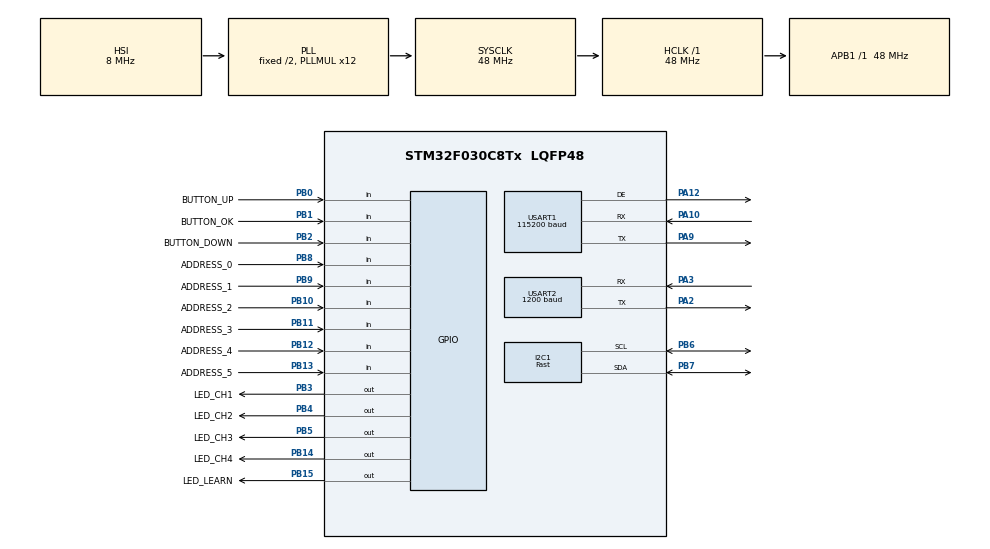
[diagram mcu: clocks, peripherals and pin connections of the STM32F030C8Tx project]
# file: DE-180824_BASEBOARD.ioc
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I2C1.I2C_Speed_Mode=I2C_Fast
I2C1.Timing=0x0010020A
Mcu.Family=STM32F0
Mcu.Name=STM32F030C8Tx
Mcu.Package=LQFP48
NVIC.USART1_IRQn=true\:0\:0\:true\:false\:true\:true\:true\:true
NVIC.USART2_IRQn=true\:0\:0\:false\:false\:true\:true\:true\:true
PA10.Mode=Asynchronous
PA10.Signal=USART1_RX
PA12.Mode=Hardware Flow Control (RS485)
PA12.Signal=USART1_DE
PA13.Mode=Serial_Wire
PA13.Signal=SYS_SWDIO
PA14.Mode=Serial_Wire
PA14.Signal=SYS_SWCLK
PA2.Mode=Asynchronous
PA2.Signal=USART2_TX
PA3.Mode=Asynchronous
PA3.Signal=USART2_RX
PA9.Mode=Asynchronous
PA9.Signal=USART1_TX
PB0.GPIO_Label=BUTTON_UP
PB0.GPIO_PuPd=GPIO_PULLUP
PB0.Signal=GPIO_Input
PB1.GPIO_Label=BUTTON_OK
PB1.GPIO_PuPd=GPIO_PULLUP
PB1.Signal=GPIO_Input
PB10.GPIO_Label=ADDRESS_2
PB10.GPIO_PuPd=GPIO_PULLUP
PB10.Signal=GPIO_Input
PB11.GPIO_Label=ADDRESS_3
PB11.GPIO_PuPd=GPIO_PULLUP
PB11.Signal=GPIO_Input
PB12.GPIO_Label=ADDRESS_4
PB12.GPIO_PuPd=GPIO_PULLUP
PB12.Signal=GPIO_Input
PB13.GPIO_Label=ADDRESS_5
PB13.GPIO_PuPd=GPIO_PULLUP
PB13.Signal=GPIO_Input
PB14.GPIO_Label=LED_CH4
PB14.Signal=GPIO_Output
PB15.GPIO_Label=LED_LEARN
PB15.Signal=GPIO_Output
PB2.GPIO_Label=BUTTON_DOWN
PB2.GPIO_PuPd=GPIO_PULLUP
PB2.Signal=GPIO_Input
PB3.GPIO_Label=LED_CH1
PB3.Signal=GPIO_Output
PB4.GPIO_Label=LED_CH2
PB4.Signal=GPIO_Output
PB5.GPIO_Label=LED_CH3
PB5.Signal=GPIO_Output
PB6.Mode=I2C
PB6.Signal=I2C1_SCL
PB7.Mode=I2C
PB7.Signal=I2C1_SDA
PB8.GPIO_Label=ADDRESS_0
PB8.GPIO_PuPd=GPIO_PULLUP
PB8.Signal=GPIO_Input
PB9.GPIO_Label=ADDRESS_1
PB9.GPIO_PuPd=GPIO_PULLUP
PB9.Signal=GPIO_Input
ProjectManager.HeapSize=0x200
ProjectManager.StackSize=0x400
ProjectManager.TargetToolchain=MDK-ARM V5.32
RCC.AHBFreq_Value=48000000
RCC.APB1Freq_Value=48000000
RCC.APB1TimFreq_Value=48000000
RCC.HCLKFreq_Value=48000000
RCC.PLLMUL=RCC_PLL_MUL12
RCC.SYSCLKFreq_VALUE=48000000
RCC.SYSCLKSource=RCC_SYSCLKSOURCE_PLLCLK
USART1.BaudRate=115200
USART1.VirtualMode-Asynchronous=VM_ASYNC
USART1.VirtualMode-Hardware\ Flow\ Control\ (RS485)=VM_ASYNC
USART2.BaudRate=1200
USART2.VirtualMode-Asynchronous=VM_ASYNC
VP_CRC_VS_CRC.Mode=CRC_Activate
VP_IWDG_VS_IWDG.Mode=IWDG_Activate
board=custom

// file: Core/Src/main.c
/* USER CODE BEGIN Header */
/**
  ******************************************************************************
  * @file           : main.c
  * @brief          : Main program body
  ******************************************************************************
  * @attention
  *
  * Copyright (c) 2025 STMicroelectronics.
  * All rights reserved.
  *
  * This software is licensed under terms that can be found in the LICENSE file
  * in the root directory of this software component.
  * If no LICENSE file comes with this software, it is provided AS-IS.
  *
  ******************************************************************************
  */
/* USER CODE END Header */
#include "main.h"

/* USER CODE BEGIN PTD */
enum {
    _SET_DIMMER_VALUE       = 0x01,
    _SET_DIMMER_RAMP        = 0x02,
    _SET_DIMMER_TEMPERATURE = 0x03,
    _DIMMER_RESET           = 0x04,  // softverski reset jednog kanala dimera 0x55 specijalna adresa za sve kanale na busu
    _GET_DIMMER_STATE       = 0x05,
    _DIMMER_RESTART         = 0x06   // softverski restart modula dimera i svih kanala na njemu
};

typedef enum {
    INIT = 0,
    RUN,
    ERR

} eSysState;

typedef struct {
    uint16_t value;
    uint16_t scale_hi;
    uint16_t scale_lo;
    uint8_t ramp;
    uint8_t temp;
    uint8_t temp_limit;
    uint8_t state;
    bool update;
    bool reset;
} sDimmerChanel;
/* USER CODE END PTD */

/* USER CODE BEGIN PD */
#define DIMRXBUF_SIZE 16
#define NUMBER_OF_CHANEL 4
#define MENU_TIMEOUT 10000 // 10 sekundi timeout
#define SHORT_PRESS_MIN 10  // 10 ms najmanje vrijeme kratkog pritisnutog tastera "klika"
#define SHORT_PRESS_MAX 200 // 200 ms najduže vrijeme jednog klika tastera
#define LONG_PRESS_MIN 1000 // 1 sekunda vrijeme nakon kojeg krece dim funkcija tastera
#define RESET_PRESS_MIN 5000 // 5 sekunda
#define LONG_PRESS_INTERVAL 0 // Brzina promjene kod dugog pritiska
#define INCREMENT_STEP 5   // Korak inkrementacije za dugi pritisak
#define TOGGLE_INTERVAL 500 // Period treptanja LED
#define ERROR_TOGGLE_INTERVAL 50 // Period treptanja LED kod greï¿½ke
#define BUTTON_PAUSE    200 // dodatni debouncing
/* USER CODE END PD */

CRC_HandleTypeDef hcrc;

I2C_HandleTypeDef hi2c1;

IWDG_HandleTypeDef hiwdg;

UART_HandleTypeDef huart1;
UART_HandleTypeDef huart2;

/* USER CODE BEGIN PV */
uint8_t dimrxbuf[DIMRXBUF_SIZE] = {0}, dimrxcnt = 0, dimrxbyte;
uint8_t rec, my_address;
TinyFrame tfapp;
bool init_tf = false;
static uint8_t ee_sta = 0;
bool restart = false;
eSysState sys_state = INIT;

static uint32_t delay_t = 20000000;
GPIO_TypeDef *LED_PORT[4] = {GPIOB, GPIOB, GPIOB, GPIOB};
uint16_t LED_PIN[4] = {GPIO_PIN_3, GPIO_PIN_4, GPIO_PIN_5, GPIO_PIN_14};
sDimmerChanel dimm_ch[4] = {0};
volatile uint8_t selected_channel = 3;
volatile uint8_t menu_activ = 0;
volatile uint32_t menu_timer = 0;
volatile uint8_t toggle_state = 0;
volatile uint8_t error_state = 0;
volatile uint32_t last_press_time = 0;
volatile uint32_t last_toggle_time = 0;
volatile uint32_t last_check_time = 0;
volatile uint32_t last_err_toggle_time = 0;
volatile uint32_t last_increment_time = 0;
uint8_t button_ok_prev = 0, button_up_prev = 0, button_down_prev = 0;
/* USER CODE END PV */

void SystemClock_Config(void);
static void MX_GPIO_Init(void);
static void MX_CRC_Init(void);
static void MX_I2C1_Init(void);
static void MX_IWDG_Init(void);
static void MX_USART1_UART_Init(void);
static void MX_USART2_UART_Init(void);
/* USER CODE BEGIN PFP */
TF_Result TYPE_Listener(TinyFrame *tf, TF_Msg *msg);
void save_value(uint8_t ch, uint16_t value);
uint8_t send(uint8_t *buf, uint8_t len);
uint8_t set_value(uint8_t ch);
uint8_t set_ramp(uint8_t ch);
uint8_t reset_ch(uint8_t ch);
uint8_t set_temp(uint8_t ch);
uint8_t get_state(uint8_t ch);
void refresh(void);
void handle_buttons(void) ;
void menu_logic(void);
void RS485_Init(void);
uint8_t received;
/* USER CODE END PFP */

/* USER CODE BEGIN 0 */
/**
  * @brief  staticka inline funkcija pauze 1~2ms za kašnjenje odgovora za stabilne repeatere
  *         u interruptu se ne može koristiti HAL_GetTick ni HAL_Delay tako da ova funkcija
  *         obezbjeduje kašnjenje oko 1 ms bez hal drivera gubljenjem vremena izvršavanjem
  *         ciklusa koji ne rade ništa
  * @param
  * @retval
  */
static inline void delay_us(uint32_t us) {
    volatile uint32_t cycles = (HAL_RCC_GetHCLKFreq() / 20000000) * us;  // Smanjen faktor
    while (cycles--) {
        __asm volatile("NOP");  // Izbegava optimizaciju
    }
}
/**
  * @brief  sacuvaj u eeprom skaliranje jednog dimera i njegovu rampu promjene
  * @param
  * @retval 0 = spašeno / 1 = neuspjeh eeprom ne radi
  */
static uint8_t save_ch(uint8_t ch)
{
    uint8_t data[6] = {0};
    uint8_t addr = ch * 8;
    data[0] = dimm_ch[ch].ramp;
    data[1] = dimm_ch[ch].scale_hi >> 8;
    data[2] = dimm_ch[ch].scale_hi & 0xff;
    data[3] = dimm_ch[ch].scale_lo >> 8;
    data[4] = dimm_ch[ch].scale_lo & 0xff;
    data[5] = dimm_ch[ch].temp_limit;
    if (HAL_I2C_Mem_Write(&hi2c1, 0xA0, addr, I2C_MEMADD_SIZE_8BIT, data, 6, 1000) != HAL_OK) ee_sta = 1; // upiši i ako nevalja upis oznaci ee_sta
    else ee_sta = 0;
    HAL_Delay(5);
    return ee_sta;
}
/**
  * @brief  kopiraj iz eeproma rampu jednog dimera i njegovo skaliranje izlaza
  * @param
  * @retval 0 = ucitano / 1 = neuspjeh eeprom ne radi
  */
static uint8_t load_ch(uint8_t ch)
{
    uint8_t data[6] = {0};
    uint8_t addr = ch * 8;

    if (HAL_I2C_Mem_Read(&hi2c1, 0xA0, addr, I2C_MEMADD_SIZE_8BIT, data, 6, 1000) != HAL_OK)
    {
        ++ee_sta;   // ako nevalja eeprom oznaci ee_sta i postavi defaultne vrijednosti
        dimm_ch[ch].ramp = 5; // 5 ms rampa
        dimm_ch[ch].scale_hi = 1000; // 1000 za najveci moguci raspon
        dimm_ch[ch].scale_lo = 0;   // 0 za najveci moguci raspon
        dimm_ch[ch].temp_limit = 90; // izbacuj grešku na 90°C mosfeta
    }
    else // samo ucitaj podatke ako valja eeprom
    {
        dimm_ch[ch].ramp = data[0];
        dimm_ch[ch].scale_hi = (uint16_t) (data[1] << 8) | data[2];
        dimm_ch[ch].scale_lo = (uint16_t) (data[3] << 8) | data[4];
        dimm_ch[ch].temp_limit = data[5];
        dimm_ch[ch].update = true; // šalji i na dimer izlaz
        ee_sta = 0;
    }

    return ee_sta;
}
/**
  * @brief  Mapiranje vrednosti izmedu 1 i 99 u raspon 0~1000, ulazni 0 i 100 se odmah vracaju kao 0 i 1000
  * @param  uint8_t dimmer_value je ulazna vrijednost 0~100,
            uint16_t lower_limit je minimalna izlazna vrijednost za ulaznu 1
            uint16_t upper_limit je maksimalna izlazna vrijednost za ulaznu 99
  * @retval 0~1000
  */
uint16_t map_dimmer_value(uint8_t dimmer_value, uint16_t lower_limit, uint16_t upper_limit)
{
    //dimmer_value = 0 ? izlaz = 0
    //dimmer_value = 100 ? izlaz = 1000
    //dimmer_value = 1 ? izlaz = lower_limit (npr. 200)
    //dimmer_value = 99 ? izlaz ï¿½ upper_limit (npr. 700)
    //Sve ostali vrednosti (2-98) se proporcionalno mapiraju izmedu lower_limit i upper_limit.
    if (dimmer_value == 0) return 0;  // Ako je podešavanje 0, izlaz je 0
    if (dimmer_value == 100) return 1000; // Ako je podešavanje 100, izlaz je 1000
    // Mapiranje vrednosti izmedu 1 i 99 u raspon lower_limit - upper_limit
    return (uint16_t)((((uint32_t)(dimmer_value - 1) * (upper_limit - lower_limit)) / 98) + lower_limit);
}
/**
  * @brief  Genericka funkcija za mapiranje ulazne vrednosti iz vece u manju sa limiterima za ulazne i izlazne vrijednosti
            ovdje se koristi da se vrijednost dimera koja je u rasponu 0~1000 skalira na vrijednost podešavanja 0~100%
  * @param  uint16_t in_value je ulazna vrijednost
  * @retval uint8_t
  */
uint8_t map_hi2lo (uint16_t in_value, uint16_t in_min, uint16_t in_max, uint8_t out_min, uint8_t out_max)
{
    if (in_value <= in_min) return out_min;
    if (in_value >= in_max) return out_max;
    return (uint8_t)((((uint32_t)(in_value - in_min) * (out_max - out_min)) / (in_max - in_min)) + out_min);
}
/**
  * @brief  Genericka funkcija za mapiranje ulazne vrednosti iz manjih u vece sa limiterima za ulazne i izlazne vrijednosti
  * @param  uint8_t in_value je ulazna vrijednost
  * @retval uint16_t
  */
uint16_t map_lo2hi(uint8_t in_value, uint8_t in_min, uint8_t in_max, uint16_t out_min, uint16_t out_max)
{
    if (in_value <= in_min) return out_min;
    if (in_value >= in_max) return out_max;
    return (uint16_t)((((uint32_t)(in_value - in_min) * (out_max - out_min)) / (in_max - in_min)) + out_min);
}
/**
  * @brief  resetuj jedan dimera tako da se izlaz postavlja na 0 a rampa i temp.limit reinicijalizujui briše status greške
  * @param  rampa dimera i temperaturni limit kanala dimera
  * @retval 0 = odgovor potvrdan / 1 = nije potvrdan
  */
uint8_t reset_ch(uint8_t ch)
{
    uint8_t res = 1; // odgovor
    uint8_t buf[4];

    buf[0] = ch + 1;
    buf[1] = _DIMMER_RESET;
    buf[2] = dimm_ch[ch].ramp;
    buf[3] = dimm_ch[ch].temp_limit;
    res = send(buf, 4);
    return res;
}
/**
  * @brief  restartuj jedan dimera bez inicijalizacije t.j. svi parametri su 0
  * @param  rampa dimera i temperaturni limit kanala dimera
  * @retval 0 = odgovor potvrdan / 1 = nije potvrdan
  */
uint8_t restart_ch(uint8_t ch)
{
    uint8_t res = 1; // odgovor
    uint8_t buf[4];

    buf[0] = ch + 1;
    buf[1] = _DIMMER_RESTART;
    res = send(buf, 2);
    return res;
}
/**
  * @brief  podesi izlaz jednog dimera
  * @param  ch = kanal dimera
  * @retval 0 = odgovor potvrdan / 1 = nije potvrdan
  */
uint8_t set_value(uint8_t ch)
{
    uint8_t res = 1; // odgovor
    uint8_t buf[4];

    buf[0] = ch + 1; // dimer moduli su adresirani od 1 pa dodaj offset
    buf[1] = _SET_DIMMER_VALUE;
    buf[2] = dimm_ch[ch].value >> 8;
    buf[3] = dimm_ch[ch].value & 0xff;
    res = send(buf, 4); // šalji sa odgovorom i
    return res; //  informiši pozivaoca o izvršenju
}
/**
  * @brief  podesi temperaturni limit jednog dimera
  * @param  ch = kanal dimera, temp_limit
  * @retval 0 = odgovor potvrdan / 1 = nije potvrdan
  */
uint8_t set_temp(uint8_t ch)
{
    uint8_t res = 1; // odgovor
    uint8_t buf[3];

    buf[0] = ch + 1;
    buf[1] = _SET_DIMMER_TEMPERATURE;
    buf[2] = dimm_ch[ch].temp_limit;

    res = send(buf, 3);
    return res;
}
/**
  * @brief  podesi rampu promjene izlaza jednog  dimera
  * @param  ch = kanal dimera, ramp
  * @retval 0 = odgovor potvrdan / 1 = nije potvrdan
  */
uint8_t set_ramp(uint8_t ch)
{
    uint8_t res = 1; // odgovor
    uint8_t buf[3];

    buf[0] = ch + 1;
    buf[1] = _SET_DIMMER_RAMP;
    buf[2] = dimm_ch[ch].ramp;
    res = send(buf, 3);
    return res;
}
/**
  * @brief  trazi stanje jednog dimera
  * @param  ucitani su u strukturu iz dimera value, ramp, temp, temp_limit, state
  * @retval 0 = odgovor potvrdan / 1 = nije potvrdan
  */
uint8_t get_state(uint8_t ch)
{
    uint8_t buf[3];
    uint8_t ret = 5; // broj pokušaja
    uint8_t res = 1; // odgovor negativan
    uint8_t wait = 10; // vrijeme odgovora * 2ms

    buf[0] = ch + 1;
    buf[1] = _GET_DIMMER_STATE;

    do {
        dimrxcnt = 0;
        memset(dimrxbuf, 0, DIMRXBUF_SIZE);
        HAL_UART_Transmit(&huart2, buf, 2, 100);

        while(wait)
        {
            HAL_Delay(2);
            if((dimrxcnt == 8) && (dimrxbuf[0] == (ch + 1)) && (dimrxbuf[1] == _GET_DIMMER_STATE))
            {
                // uzmi samo read only varijable iz modula
                // pokazalo se kao bolja opcija
                ret = res = wait = 0;
//                dimm_ch[ch].value        = ((uint16_t)dimrxbuf[2] << 8) | dimrxbuf[3];
//                dimm_ch[ch].ramp         = dimrxbuf[4];
                dimm_ch[ch].temp         = dimrxbuf[5];
//                dimm_ch[ch].temp_limit   = dimrxbuf[6];
                dimm_ch[ch].state        = dimrxbuf[7];
            } else --wait;
        }
    } while(ret--);
    return res;
}
/**
  * @brief  podesi adresu modula dimera na busu prema poziciji DIP switcha
  * @param
  * @retval
  */
void get_address(void)
{
    my_address = 0;
    if(HAL_GPIO_ReadPin(ADDRESS_0_GPIO_Port, ADDRESS_0_Pin) == GPIO_PIN_RESET) my_address |= 0x01;
    if(HAL_GPIO_ReadPin(ADDRESS_1_GPIO_Port, ADDRESS_1_Pin) == GPIO_PIN_RESET) my_address |= 0x02;
    if(HAL_GPIO_ReadPin(ADDRESS_2_GPIO_Port, ADDRESS_2_Pin) == GPIO_PIN_RESET) my_address |= 0x04;
    if(HAL_GPIO_ReadPin(ADDRESS_3_GPIO_Port, ADDRESS_3_Pin) == GPIO_PIN_RESET) my_address |= 0x08;
    if(HAL_GPIO_ReadPin(ADDRESS_4_GPIO_Port, ADDRESS_4_Pin) == GPIO_PIN_RESET) my_address |= 0x10;
    if(HAL_GPIO_ReadPin(ADDRESS_5_GPIO_Port, ADDRESS_5_Pin) == GPIO_PIN_RESET) my_address |= 0x20;
}
/**
  * @brief  restartuj sve dimere i ponovo reinicijalizuj iz eeprom-a
            rampe, skaliranje i tem. limit  bez odgovora
  * @param
  * @retval
  */
void restart_all(void)
{
    uint8_t buf[2];
    buf[0] = 0x55;
    buf[1] = _DIMMER_RESTART;
    send(buf, 2);
    load_ch(0);
    load_ch(1);
    load_ch(2);
    load_ch(3);
}
/**
  * @brief  povremena provjera stanja dimera i podešavanje novih vrijednosti
  * @param
  * @retval
  */
void refresh_ch(void)
{
    uint8_t response = 0;
    static uint8_t chanel = 0;

    if ((HAL_GetTick() - last_check_time) >= 50) {
        last_check_time = HAL_GetTick();  // Azuriraj vreme poslednje promene
        if(dimm_ch[chanel].update == true)
        {
            response  = set_value(chanel);
            response += set_temp(chanel);
            response += set_ramp(chanel);
            if(response == 0) dimm_ch[chanel].update = false;
            else dimm_ch[chanel].state = ERR;
            save_ch(chanel);
        }
        if(get_state(chanel) != 0) dimm_ch[chanel].state = ERR;
        if(++chanel >= NUMBER_OF_CHANEL) chanel = 0;
    }
}
/**
  * @brief  pošalji paket dimeru i cekaj odgovor sa više pokušaja
  * @param
  * @retval 0 = uspješno / 1 = nije uspješno
  */
uint8_t send(uint8_t *buf, uint8_t len)
{
    uint8_t ret = 5; // broj pokušaja
    uint8_t res = 1; // odgovor negativan
    uint8_t wait = 10; // vrijeme odgovora * 2ms

    do {
        dimrxcnt = 0;
        memset(dimrxbuf, 0, DIMRXBUF_SIZE);
        HAL_UART_Transmit(&huart2, buf, len, 100);

        while(wait)
        {
            HAL_Delay(2);
            if(dimrxbuf[0] == ACK)
            {
                ret = res = wait = 0;
            } else --wait;
        }
    } while(ret--);
    return res;
}
/**
  * @brief  podesi stanje led dioda na panelu prema vrijednosti izlaza
  * @param
  * @retval
  */
void refresh_led(void)
{
    for (uint8_t i = 0; i < 4; i++) {
        if(menu_activ || dimm_ch[i].state < ERR)
        {
            HAL_GPIO_WritePin(LED_PORT[i], LED_PIN[i], (dimm_ch[i].value > 0) ? GPIO_PIN_SET : GPIO_PIN_RESET);
        }
    }
}
/**
  * @brief  reaguj na pritisak tastera na prednjem panelu modula
  * @param
  * @retval
  */
void handle_buttons(void)
{
    uint32_t current_time = HAL_GetTick();
    uint8_t button_ok = HAL_GPIO_ReadPin(GPIOB, GPIO_PIN_1);
    uint8_t button_up = HAL_GPIO_ReadPin(GPIOB, GPIO_PIN_0);
    uint8_t button_down = HAL_GPIO_ReadPin(GPIOB, GPIO_PIN_2);

    if (button_ok == GPIO_PIN_RESET) {
        if (!button_ok_prev) {
            button_ok_prev = 1; // lock press time load
            menu_activ = 1;
            toggle_state = 1;
            if(++selected_channel > 3) selected_channel = 0;
            menu_timer = current_time + MENU_TIMEOUT;
            last_press_time = current_time; // load first press time
            refresh_led();
            get_address();
            HAL_Delay(BUTTON_PAUSE);
        }
        else if (error_state && (current_time - last_press_time > RESET_PRESS_MIN)) {
            error_state = 0;
            restart_all(); // restartuj sve izlaze i ponovo ucitaj varijable iz eeproma
            HAL_Delay(200);
            for (uint8_t i = 0; i < 4; i++) {
                reset_ch(i);
                get_state(i);
                if(dimm_ch[i].state >= ERR) error_state = 1;
            }
        }

    }
    else if ((button_ok == GPIO_PIN_SET) && button_ok_prev)
    {
        button_ok_prev = 0;
        HAL_Delay(BUTTON_PAUSE);
        refresh_led();
    }

    if (menu_activ && (button_up == GPIO_PIN_RESET)) {
        if (!button_up_prev) {
            button_up_prev = 1; // lock press time load
            last_press_time = current_time; // load first press time
            HAL_Delay(BUTTON_PAUSE);
        }
        else if (current_time - last_press_time > LONG_PRESS_MIN && current_time - last_increment_time > LONG_PRESS_INTERVAL) {
            if (dimm_ch[selected_channel].value < 1000) {
                ++dimm_ch[selected_channel].value;
                set_value(selected_channel);
            }
            last_increment_time = current_time;
        }
        menu_timer = current_time + MENU_TIMEOUT;
    }
    else if ((button_up == GPIO_PIN_SET) && button_up_prev)
    {
        button_up_prev = 0; // release button press
        if((current_time - last_press_time) < LONG_PRESS_MIN)// check  for short press time window
        {
            dimm_ch[selected_channel].value = 1000;
            set_value(selected_channel);
        }
        HAL_Delay(BUTTON_PAUSE);
    }

    if (menu_activ && (button_down == GPIO_PIN_RESET)) {
        if (!button_down_prev) {
            button_down_prev = 1; // lock press time load
            last_press_time = current_time; // load first press time
            HAL_Delay(BUTTON_PAUSE);
        } else if (current_time - last_press_time > LONG_PRESS_MIN && current_time - last_increment_time > LONG_PRESS_INTERVAL) {
            if (dimm_ch[selected_channel].value > 0) {
                --dimm_ch[selected_channel].value;
                set_value(selected_channel);
            }
            last_increment_time = current_time;
        }
        menu_timer = current_time + MENU_TIMEOUT;
    }
    else if ((button_down == GPIO_PIN_SET) && button_down_prev)
    {
        button_down_prev = 0; // release button press
        if((current_time - last_press_time) < LONG_PRESS_MIN)// check  for short press time windows
        {
            dimm_ch[selected_channel].value = 0;
            set_value(selected_channel);
        }
        HAL_Delay(BUTTON_PAUSE);
    }
}
/**
  * @brief  logika korisnickog menija sa led diodama i tasterima na prednjem panelu modula
  * @param
  * @retval
  */
void menu_logic(void)
{
    static bool error_led_state = true;  // true = LED ukljucene, false = LED iskljucene
    uint32_t current_time = HAL_GetTick();
    if (current_time > menu_timer) {
        selected_channel = 3;
        menu_activ = 0;
        toggle_state = 0;
        refresh_led();
    }
    if (toggle_state && (current_time - last_toggle_time >= TOGGLE_INTERVAL)) {
        HAL_GPIO_TogglePin(LED_PORT[selected_channel], LED_PIN[selected_channel]);
        last_toggle_time = current_time;
    }
    if (!menu_activ && error_state && (current_time - last_err_toggle_time >= ERROR_TOGGLE_INTERVAL)) {
        // Ako je uredaj u error stanju, postavi sve LED u istom stanju
        for (uint8_t i = 0; i < 4; i++) {
            if (dimm_ch[i].state >= ERR) {
                // Ako je error_led_state true, ukljucuju se LED, inace iskljucuju
                HAL_GPIO_WritePin(LED_PORT[i], LED_PIN[i], error_led_state ? GPIO_PIN_SET : GPIO_PIN_RESET);
            }
        }
        last_err_toggle_time = current_time;
        error_led_state = !error_led_state;  // Prebacivanje stanja (ako se neko stanje promeni)
    }
}
/**
  * @brief  mali efekt sa LED diodama prednjeg panela kod ukljucenja
  * @param
  * @retval
  */
void start_effect(void)
{
    // 1. Punjenje iz sredine (LED_CH2 i LED_CH3 prvo)
    HAL_GPIO_WritePin(LED_CH2_GPIO_Port, LED_CH2_Pin, GPIO_PIN_SET);
    HAL_GPIO_WritePin(LED_CH3_GPIO_Port, LED_CH3_Pin, GPIO_PIN_SET);
    HAL_Delay(100);
    HAL_GPIO_WritePin(LED_CH1_GPIO_Port, LED_CH1_Pin, GPIO_PIN_SET);
    HAL_GPIO_WritePin(LED_CH4_GPIO_Port, LED_CH4_Pin, GPIO_PIN_SET);
    HAL_Delay(200);

    // Gašenje svih LED
    HAL_GPIO_WritePin(LED_CH1_GPIO_Port, LED_CH1_Pin, GPIO_PIN_RESET);
    HAL_GPIO_WritePin(LED_CH2_GPIO_Port, LED_CH2_Pin, GPIO_PIN_RESET);
    HAL_GPIO_WritePin(LED_CH3_GPIO_Port, LED_CH3_Pin, GPIO_PIN_RESET);
    HAL_GPIO_WritePin(LED_CH4_GPIO_Port, LED_CH4_Pin, GPIO_PIN_RESET);
    HAL_Delay(100);

#ifdef USE_WATCHDOG
    HAL_IWDG_Refresh(&hiwdg);
#endif

    // 2. Brzi svjetlosni odjek (napred i nazad)
    GPIO_TypeDef *ports[] = {LED_CH1_GPIO_Port, LED_CH2_GPIO_Port, LED_CH3_GPIO_Port, LED_CH4_GPIO_Port};
    const uint16_t pins[] = {LED_CH1_Pin, LED_CH2_Pin, LED_CH3_Pin, LED_CH4_Pin};
    for(int i = 0; i < 4; i++)
    {
        // Naprijed (CH1 -> CH2 -> CH3 -> CH4)
        for (int i = 0; i < 4; i++)
        {
            HAL_GPIO_WritePin(ports[i], pins[i], GPIO_PIN_SET);
            HAL_Delay(50);
            HAL_GPIO_WritePin(ports[i], pins[i], GPIO_PIN_RESET);
        }

        // Nazad (CH4 -> CH3 -> CH2 -> CH1)
        for (int i = 3; i >= 0; i--)
        {
            HAL_GPIO_WritePin(ports[i], pins[i], GPIO_PIN_SET);
            HAL_Delay(50);
            HAL_GPIO_WritePin(ports[i], pins[i], GPIO_PIN_RESET);
        }
    }

#ifdef USE_WATCHDOG
    HAL_IWDG_Refresh(&hiwdg);
#endif

    // 3. Završni treptaji (3 puta)
    for (int i = 0; i < 3; i++)
    {
        HAL_GPIO_WritePin(LED_CH1_GPIO_Port, LED_CH1_Pin, GPIO_PIN_SET);
        HAL_GPIO_WritePin(LED_CH2_GPIO_Port, LED_CH2_Pin, GPIO_PIN_SET);
        HAL_GPIO_WritePin(LED_CH3_GPIO_Port, LED_CH3_Pin, GPIO_PIN_SET);
        HAL_GPIO_WritePin(LED_CH4_GPIO_Port, LED_CH4_Pin, GPIO_PIN_SET);
        HAL_Delay(100);

        HAL_GPIO_WritePin(LED_CH1_GPIO_Port, LED_CH1_Pin, GPIO_PIN_RESET);
        HAL_GPIO_WritePin(LED_CH2_GPIO_Port, LED_CH2_Pin, GPIO_PIN_RESET);
        HAL_GPIO_WritePin(LED_CH3_GPIO_Port, LED_CH3_Pin, GPIO_PIN_RESET);
        HAL_GPIO_WritePin(LED_CH4_GPIO_Port, LED_CH4_Pin, GPIO_PIN_RESET);
        HAL_Delay(100);
    }
}

/* USER CODE END 0 */

int main(void)
{

    /* MCU Configuration--------------------------------------------------------*/

    /* Reset of all peripherals, Initializes the Flash interface and the Systick. */
    HAL_Init();

    /* Configure the system clock */
    SystemClock_Config();

    /* Initialize all configured peripherals */
    MX_GPIO_Init();
    MX_CRC_Init();
    MX_I2C1_Init();
    MX_IWDG_Init();
    MX_USART1_UART_Init();
    MX_USART2_UART_Init();
    /* USER CODE BEGIN 2 */
    RS485_Init();
    start_effect();
    /* USER CODE END 2 */

    /* Infinite loop */
    /* USER CODE BEGIN WHILE */
    while (1)
    {
        if(restart == true) restart_all(), Error_Handler(); // neko je iskao restart
        handle_buttons();
        menu_logic();

        switch(sys_state)
        {
        case INIT:
            get_address();
            restart_all();
            error_state = 1;
            sys_state = RUN;
            break;
        case RUN:
            refresh_ch();
            break;
        case ERR:
        default:
            break;
        }
        /* USER CODE END WHILE */

        /* USER CODE BEGIN 3 */
#ifdef USE_WATCHDOG
        HAL_IWDG_Refresh(&hiwdg);
#endif
    }
    /* USER CODE END 3 */
}

void SystemClock_Config(void)
{
    RCC_OscInitTypeDef RCC_OscInitStruct = {0};
    RCC_ClkInitTypeDef RCC_ClkInitStruct = {0};
    RCC_PeriphCLKInitTypeDef PeriphClkInit = {0};

    /** Initializes the RCC Oscillators according to the specified parameters
    * in the RCC_OscInitTypeDef structure.
    */
    RCC_OscInitStruct.OscillatorType = RCC_OSCILLATORTYPE_HSI|RCC_OSCILLATORTYPE_LSI;
    RCC_OscInitStruct.HSIState = RCC_HSI_ON;
    RCC_OscInitStruct.HSICalibrationValue = RCC_HSICALIBRATION_DEFAULT;
    RCC_OscInitStruct.LSIState = RCC_LSI_ON;
    RCC_OscInitStruct.PLL.PLLState = RCC_PLL_ON;
    RCC_OscInitStruct.PLL.PLLSource = RCC_PLLSOURCE_HSI;
    RCC_OscInitStruct.PLL.PLLMUL = RCC_PLL_MUL12;
    RCC_OscInitStruct.PLL.PREDIV = RCC_PREDIV_DIV1;
    if (HAL_RCC_OscConfig(&RCC_OscInitStruct) != HAL_OK)
    {
        Error_Handler();
    }

    /** Initializes the CPU, AHB and APB buses clocks
    */
    RCC_ClkInitStruct.ClockType = RCC_CLOCKTYPE_HCLK|RCC_CLOCKTYPE_SYSCLK
                                  |RCC_CLOCKTYPE_PCLK1;
    RCC_ClkInitStruct.SYSCLKSource = RCC_SYSCLKSOURCE_PLLCLK;
    RCC_ClkInitStruct.AHBCLKDivider = RCC_SYSCLK_DIV1;
    RCC_ClkInitStruct.APB1CLKDivider = RCC_HCLK_DIV1;

    if (HAL_RCC_ClockConfig(&RCC_ClkInitStruct, FLASH_LATENCY_1) != HAL_OK)
    {
        Error_Handler();
    }
    PeriphClkInit.PeriphClockSelection = RCC_PERIPHCLK_USART1|RCC_PERIPHCLK_I2C1;
    PeriphClkInit.Usart1ClockSelection = RCC_USART1CLKSOURCE_PCLK1;
    PeriphClkInit.I2c1ClockSelection = RCC_I2C1CLKSOURCE_HSI;
    if (HAL_RCCEx_PeriphCLKConfig(&PeriphClkInit) != HAL_OK)
    {
        Error_Handler();
    }
}

static void MX_CRC_Init(void)
{

    hcrc.Instance = CRC;
    hcrc.Init.DefaultInitValueUse = DEFAULT_INIT_VALUE_ENABLE;
    hcrc.Init.InputDataInversionMode = CRC_INPUTDATA_INVERSION_NONE;
    hcrc.Init.OutputDataInversionMode = CRC_OUTPUTDATA_INVERSION_DISABLE;
    hcrc.InputDataFormat = CRC_INPUTDATA_FORMAT_BYTES;
    if (HAL_CRC_Init(&hcrc) != HAL_OK)
    {
        Error_Handler();
    }

}

static void MX_I2C1_Init(void)
{

    hi2c1.Instance = I2C1;
    hi2c1.Init.Timing = 0x0010020A;
    hi2c1.Init.OwnAddress1 = 0;
    hi2c1.Init.AddressingMode = I2C_ADDRESSINGMODE_7BIT;
    hi2c1.Init.DualAddressMode = I2C_DUALADDRESS_DISABLE;
    hi2c1.Init.OwnAddress2 = 0;
    hi2c1.Init.OwnAddress2Masks = I2C_OA2_NOMASK;
    hi2c1.Init.GeneralCallMode = I2C_GENERALCALL_DISABLE;
    hi2c1.Init.NoStretchMode = I2C_NOSTRETCH_DISABLE;
    if (HAL_I2C_Init(&hi2c1) != HAL_OK)
    {
        Error_Handler();
    }

    /** Configure Analogue filter
    */
    if (HAL_I2CEx_ConfigAnalogFilter(&hi2c1, I2C_ANALOGFILTER_ENABLE) != HAL_OK)
    {
        Error_Handler();
    }

    /** Configure Digital filter
    */
    if (HAL_I2CEx_ConfigDigitalFilter(&hi2c1, 0) != HAL_OK)
    {
        Error_Handler();
    }

}

static void MX_IWDG_Init(void)
{

    /* USER CODE BEGIN IWDG_Init 0 */
#ifdef USE_WATCHDOG
    /* USER CODE END IWDG_Init 0 */

    hiwdg.Instance = IWDG;
    hiwdg.Init.Prescaler = IWDG_PRESCALER_32;
    hiwdg.Init.Window = 4095;
    hiwdg.Init.Reload = 4095;
    if (HAL_IWDG_Init(&hiwdg) != HAL_OK)
    {
        Error_Handler();
    }
    /* USER CODE BEGIN IWDG_Init 2 */
#endif
    /* USER CODE END IWDG_Init 2 */

}

static void MX_USART1_UART_Init(void)
{

    huart1.Instance = USART1;
    huart1.Init.BaudRate = 115200;
    huart1.Init.WordLength = UART_WORDLENGTH_8B;
    huart1.Init.StopBits = UART_STOPBITS_1;
    huart1.Init.Parity = UART_PARITY_NONE;
    huart1.Init.Mode = UART_MODE_TX_RX;
    huart1.Init.HwFlowCtl = UART_HWCONTROL_NONE;
    huart1.Init.OverSampling = UART_OVERSAMPLING_16;
    huart1.Init.OneBitSampling = UART_ONE_BIT_SAMPLE_DISABLE;
    huart1.AdvancedInit.AdvFeatureInit = UART_ADVFEATURE_NO_INIT;
    if (HAL_RS485Ex_Init(&huart1, UART_DE_POLARITY_HIGH, 0, 0) != HAL_OK)
    {
        Error_Handler();
    }

}

static void MX_USART2_UART_Init(void)
{

    huart2.Instance = USART2;
    huart2.Init.BaudRate = 9600;
    huart2.Init.WordLength = UART_WORDLENGTH_8B;
    huart2.Init.StopBits = UART_STOPBITS_1;
    huart2.Init.Parity = UART_PARITY_NONE;
    huart2.Init.Mode = UART_MODE_TX_RX;
    huart2.Init.HwFlowCtl = UART_HWCONTROL_NONE;
    huart2.Init.OverSampling = UART_OVERSAMPLING_16;
    huart2.Init.OneBitSampling = UART_ONE_BIT_SAMPLE_DISABLE;
    huart2.AdvancedInit.AdvFeatureInit = UART_ADVFEATURE_NO_INIT;
    if (HAL_UART_Init(&huart2) != HAL_OK)
    {
        Error_Handler();
    }
    /* USER CODE BEGIN USART2_Init 2 */
    HAL_UART_Receive_IT(&huart2, &dimrxbyte, 1);
    /* USER CODE END USART2_Init 2 */

}

static void MX_GPIO_Init(void)
{
    GPIO_InitTypeDef GPIO_InitStruct = {0};

    /* GPIO Ports Clock Enable */
    __HAL_RCC_GPIOA_CLK_ENABLE();
    __HAL_RCC_GPIOB_CLK_ENABLE();

    /*Configure GPIO pin Output Level */
    HAL_GPIO_WritePin(GPIOB, LED_CH4_Pin|LED_LEARN_Pin|LED_CH1_Pin|LED_CH2_Pin
                      |LED_CH3_Pin, GPIO_PIN_RESET);

    /*Configure GPIO pins : BUTTON_UP_Pin BUTTON_OK_Pin BUTTON_DOWN_Pin ADDRESS_2_Pin
                             ADDRESS_3_Pin ADDRESS_4_Pin ADDRESS_5_Pin ADDRESS_0_Pin
                             ADDRESS_1_Pin */
    GPIO_InitStruct.Pin = BUTTON_UP_Pin|BUTTON_OK_Pin|BUTTON_DOWN_Pin|ADDRESS_2_Pin
                          |ADDRESS_3_Pin|ADDRESS_4_Pin|ADDRESS_5_Pin|ADDRESS_0_Pin
                          |ADDRESS_1_Pin;
    GPIO_InitStruct.Mode = GPIO_MODE_INPUT;
    GPIO_InitStruct.Pull = GPIO_PULLUP;
    HAL_GPIO_Init(GPIOB, &GPIO_InitStruct);

    /*Configure GPIO pins : LED_CH4_Pin LED_LEARN_Pin LED_CH1_Pin LED_CH2_Pin
                             LED_CH3_Pin */
    GPIO_InitStruct.Pin = LED_CH4_Pin|LED_LEARN_Pin|LED_CH1_Pin|LED_CH2_Pin
                          |LED_CH3_Pin;
    GPIO_InitStruct.Mode = GPIO_MODE_OUTPUT_PP;
    GPIO_InitStruct.Pull = GPIO_NOPULL;
    GPIO_InitStruct.Speed = GPIO_SPEED_FREQ_LOW;
    HAL_GPIO_Init(GPIOB, &GPIO_InitStruct);

}

/* USER CODE BEGIN 4 */
/**
  * @brief  Prati komunikaciju za DIMMER_SET tipu kanala za podešavanje nove vrijednosti izlaza dimera
  * @param
  * @retval
  */
TF_Result DIMMER_SET_Listener(TinyFrame *tf, TF_Msg *msg)
{
    uint8_t resp[4] = {0};
    uint16_t addr = (msg->data[0] << 8) + msg->data[1];
    uint8_t diml = (my_address * 4) - 3;
    uint8_t dimh =  my_address * 4;
    uint8_t ch = addr - diml; // selected dimmer

    if(addr && my_address && (addr >= diml) && (addr <= dimh))
    {
        dimm_ch[ch].value = map_dimmer_value(msg->data[2], dimm_ch[ch].scale_lo, dimm_ch[ch].scale_hi); // Skaliraj u 0~1000 okvir
        dimm_ch[ch].update = true; // Nova vrijednost na tržištu
        memcpy(resp, msg->data, 3); // Kopiraj ulazni bafer u odgovor
        resp[3] = ACK; // Dodaj potvrdni bajt
        msg->data = resp; // Naštimaj odgovor za pointer
        msg->len = 4; // Odgovor je 4 bajta
        TF_Respond(tf, msg); // Šalji nazad
    }
    return TF_STAY;;
}
/**
  * @brief  Prati komunikaciju za DIMMER_GET tipu kanala za zahtjev o statusu kanala dimera
  * @param
  * @retval
  */
TF_Result DIMMER_GET_Listener(TinyFrame *tf, TF_Msg *msg)
{
    uint8_t resp[11] = {0};
    uint16_t addr = (msg->data[0] << 8) + msg->data[1];
    uint8_t diml = (my_address * 4) - 3;
    uint8_t dimh =  my_address * 4;

    if(addr && my_address && (addr >= diml) && (addr <= dimh))
    {
        resp[0] = msg->data[0]; // Kopiraj adresu dimera u odgovoru zbog
        resp[1] = msg->data[1]; // provjere na uredaju koji je poslao zahtjev
        resp[2] = map_hi2lo(dimm_ch[addr - diml].value, dimm_ch[addr - diml].scale_hi, dimm_ch[addr - diml].scale_lo, 0, 100); // mapiraj 0~1000 na 0~100
        resp[3] = dimm_ch[addr - diml].ramp; // Trenutna rampa prirasta kanala dimera
        resp[4] = dimm_ch[addr - diml].temp; // Trenutna temperature kanala dimera
        resp[5] = dimm_ch[addr - diml].temp_limit; // Podešeni limit temperature
        resp[6] = dimm_ch[addr - diml].scale_hi >> 8; // Skalirna vrijednost maksimuma gornji bajt
        resp[7] = dimm_ch[addr - diml].scale_hi & 0xff; // Skalirna vrijednost maksimuma donji bajt
        resp[8] = dimm_ch[addr - diml].scale_lo >> 8; // Skalirna vrijednost minimuma gornji bajt
        resp[9] = dimm_ch[addr - diml].scale_lo & 0xff; // Skalirna vrijednost maksimuma donji bajt
        resp[10] = dimm_ch[addr - diml].state; // Trenutno stanje kanala  dimera 0 = init, 1 = u radu, 2 = greška temperaturna zaštita
        msg->data = resp; // Podesi pointer na bafer odgovora
        msg->len = 11; // Odgovor je 11 bajta
        TF_Respond(tf, msg); // Šalji odgovor
    }
    return TF_STAY;
}
/**
  * @brief  Prati komunikaciju za DIMMER_RESET tipu kanala za softverski restart jednog kanala dimera
  * @param
  * @retval
  */
TF_Result DIMMER_RESET_Listener(TinyFrame *tf, TF_Msg *msg)
{
    uint8_t resp[3] = {0};
    uint16_t addr = (uint16_t)(msg->data[0] << 8) | msg->data[1];
    uint8_t diml = (my_address * 4) - 3;
    uint8_t dimh =  my_address * 4;
    uint8_t ch = addr - diml; // selected dimmer

    if(addr && my_address && (addr >= diml) && (addr <= dimh))
    {
        resp[0] = msg->data[0];
        resp[1] = msg->data[1];
        resp[2] = (reset_ch(ch) == 0) ? ACK:NAK;
        msg->data = resp; // Naštimaj odgovor za pointer
        msg->len = 3; // Odgovor je 4 bajta
        TF_Respond(tf, msg); // Šalji nazad
    }
    else if(my_address && (addr == 0x55AA))
    {
        for(int i = 0; i < NUMBER_OF_CHANEL; i++)
        {
            reset_ch(i);
        }
    }
    return TF_STAY;;
}
/**
  * @brief  Prati komunikaciju na DIMMER_SETUP tipu kanala za podešavanje novih postavki dimera
  * @param
  * @retval
  */
TF_Result DIMMER_SETUP_Listener(TinyFrame *tf, TF_Msg *msg)
{
    uint8_t resp[9] = {0};
    uint16_t addr = (msg->data[0] << 8) + msg->data[1];
    uint8_t diml = (my_address * 4) - 3;
    uint8_t dimh =  my_address * 4;
    uint8_t ch = addr - diml; // selected dimmer

    if(addr && my_address && (addr >= diml) && (addr <= dimh))
    {
        dimm_ch[ch].ramp = msg->data[2]; // Podei novu rampu prirasta avrijednosti dimera
        dimm_ch[ch].temp_limit = msg->data[3]; // Podesi novi temperaturni limit
        dimm_ch[ch].scale_hi = ((uint16_t) msg->data[4] << 8)|msg->data[5]; // Nova vrijednost skaliranja maksimum
        dimm_ch[ch].scale_lo = ((uint16_t) msg->data[6] << 8)|msg->data[7]; // Nova vrijednost skaliranja minimum
        dimm_ch[ch].update = true; // Nova vrijednost za dimmer kanal
        memcpy(resp, msg->data, 8);  // Kopiraj ulazni bafer u odgovor
        resp[8] = ACK; // Dodaj potvrdni bajt
        msg->data = resp; // Naštimaj odgovor za pointer
        msg->len = 9; // Odgovor je 9 bajta
        TF_Respond(tf, msg); // Šalji nazad
    }
    return TF_STAY;;
}
/**
  * @brief  Prati komunikaciju za DIMMER_RESTART tipu kanala za softverski restart modula dimera ciji je adresirani kanal
  * @param
  * @retval
  */
TF_Result DIMMER_RESTART_Listener(TinyFrame *tf, TF_Msg *msg)
{
    uint8_t resp[3] = {0};
    uint16_t addr = (uint16_t)(msg->data[0] << 8) | msg->data[1];
    uint8_t diml = (my_address * 4) - 3;
    uint8_t dimh =  my_address * 4;

    if(addr && my_address && (addr >= diml) && (addr <= dimh))
    {
        resp[0] = msg->data[0];
        resp[1] = msg->data[1];
        resp[2] = ACK;
        msg->data = resp; // Naštimaj odgovor za pointer
        msg->len = 3; // Odgovor je 4 bajta
        TF_Respond(tf, msg); // Šalji nazad
        restart = true; // podesi flag da bi vratio odgovor prvo pa tek onda pokrenuo restart
    }
    else if(my_address && (addr == 0x55AA))
    {
        restart = true; // podesi flag da bi restartovo i module
    }
    return TF_STAY;;
}
/**
  * @brief
  * @param
  * @retval
  */
void TF_WriteImpl(TinyFrame *tf, const uint8_t *buff, uint32_t len)
{
    delay_us(2000);
    HAL_UART_Transmit(&huart1,(uint8_t*)buff, len, RESP_TOUT);
    HAL_UART_Receive_IT(&huart1, &rec, 1);
}
/**
  * @brief
  * @param
  * @retval
  */
void RS485_Init(void)
{
    if(!init_tf)
    {
        init_tf = TF_InitStatic(&tfapp, TF_SLAVE);
        TF_AddTypeListener(&tfapp, DIMMER_SET, DIMMER_SET_Listener);
        TF_AddTypeListener(&tfapp, DIMMER_GET, DIMMER_GET_Listener);
        TF_AddTypeListener(&tfapp, DIMMER_SETUP, DIMMER_SETUP_Listener);
        TF_AddTypeListener(&tfapp, DIMMER_RESET, DIMMER_RESET_Listener);
        TF_AddTypeListener(&tfapp, DIMMER_RESTART, DIMMER_RESTART_Listener);
    }
    HAL_UART_Receive_IT(&huart1, &rec, 1);
}
/**
  * @brief
  * @param
  * @retval
  */
void HAL_UART_RxCpltCallback(UART_HandleTypeDef *huart)
{
    if(huart->Instance == USART1)
    {
        TF_AcceptChar(&tfapp, rec);
        HAL_UART_Receive_IT(huart, &rec, 1);
    }
    else if (huart->Instance == USART2)
    {
        dimrxbuf[dimrxcnt++] = dimrxbyte;
        if(dimrxcnt >= sizeof(dimrxbuf))
        {
            dimrxcnt = 0;
            memset(dimrxbuf, 0, sizeof(dimrxbuf));
        }
        HAL_UART_Receive_IT(huart, &dimrxbyte, 1);
    }
}
/**
  * @brief
  * @param
  * @retval
  */
void HAL_UART_TxCpltCallback(UART_HandleTypeDef *huart)
{
    if(huart->Instance == USART1)
    {
    }
    else if (huart->Instance == USART2)
    {

    }
}
/**
  * @brief
  * @param
  * @retval
  */
void HAL_UART_ErrorCallback(UART_HandleTypeDef *huart)
{
    __HAL_UART_CLEAR_PEFLAG(huart);
    __HAL_UART_CLEAR_FEFLAG(huart);
    __HAL_UART_CLEAR_NEFLAG(huart);
    __HAL_UART_CLEAR_IDLEFLAG(huart);
    __HAL_UART_CLEAR_OREFLAG(huart);
    HAL_UART_AbortReceive(huart);

    if(huart->Instance == USART1)
    {
        HAL_UART_Receive_IT(huart, &rec, 1);
    }
    else if (huart->Instance == USART2)
    {
        dimrxcnt = 0;
        memset(dimrxbuf, 0, sizeof(dimrxbuf));
        HAL_UART_Receive_IT(huart, &dimrxbyte, 1);
    }
}
/* USER CODE END 4 */

void Error_Handler(void)
{
    /* USER CODE BEGIN Error_Handler_Debug */
    /* User can add his own implementation to report the HAL error return state */
    __disable_irq();
    while (1)
    {
        HAL_NVIC_SystemReset();
    }
    /* USER CODE END Error_Handler_Debug */
}
